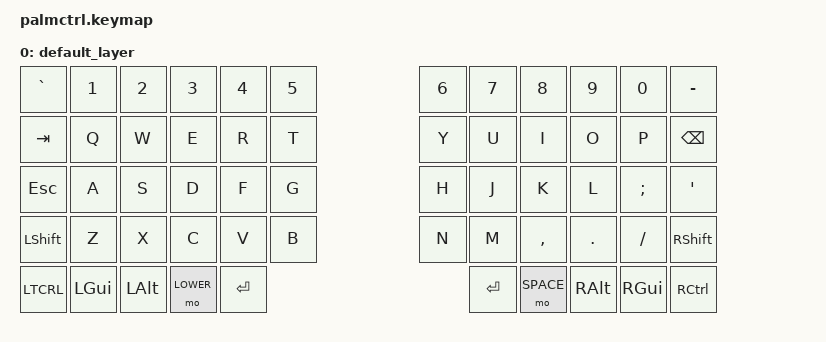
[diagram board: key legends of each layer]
/*
 * Copyright (c) 2020 The ZMK Contributors
 *
 * SPDX-License-Identifier: MIT
 */

#include <behaviors.dtsi>
#include <dt-bindings/zmk/keys.h>
#include <dt-bindings/zmk/bt.h>

/ {
        keymap {
                compatible = "zmk,keymap";

                default_layer {
            bindings = <
&kp GRAVE  &kp N1   &kp N2   &kp N3   &kp N4   &kp N5                                &kp N6  &kp N7  &kp N8    &kp N9   &kp N0   &kp MINUS
&kp TAB    &kp Q    &kp W    &kp E    &kp R    &kp T                                 &kp Y   &kp U   &kp I     &kp O    &kp P    &kp BSPC
&kp ESC    &kp A    &kp S    &kp D    &kp F    &kp G                                 &kp H   &kp J   &kp K     &kp L    &kp SEMI &kp SQT
&kp LSHFT  &kp Z    &kp X    &kp C    &kp V    &kp B                                 &kp N   &kp M   &kp COMMA &kp DOT  &kp FSLH &kp RSHFT
&kp LTCRL  &kp LGUI               &kp LALT  &mo LOWER  &kp RET         &kp RET  &mo SPACE  &kp RALT                    &kp RGUI &kp RCTRL
            >;
        };
};
